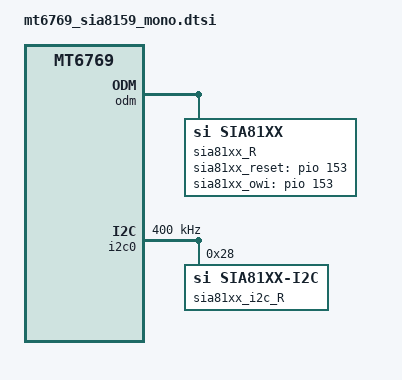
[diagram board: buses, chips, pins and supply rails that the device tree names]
/* Copyright (c) 2018, The Linux Foundation. All rights reserved.
 *
 * This program is free software; you can redistribute it and/or modify
 * it under the terms of the GNU General Public License version 2 and
 * only version 2 as published by the Free Software Foundation.
 *
 * This program is distributed in the hope that it will be useful,
 * but WITHOUT ANY WARRANTY; without even the implied warranty of
 * MERCHANTABILITY or FITNESS FOR A PARTICULAR PURPOSE.  See the
 * GNU General Public License for more details.
 */

&pio {
	sia81xx_gpio_R: sia81xx_gpio_R {
		pins_cmd_dat {
			pinmux = <PINMUX_GPIO153__FUNC_GPIO153>;
			slew-rate = <1>;
			bias-disable;
		};
	};
};

&odm {
	sia81xx_R: sia81xx@R {
		compatible = "si,sia81xx";
		si,sia81xx_type = "sia8159";
		si,sia81xx_reset = <&pio 153 0>;
		si,sia81xx_owi = <&pio 153 0>;
		pinctrl-names = "sia81xx_gpio";
		pinctrl-0 = <&sia81xx_gpio_R>;
		si,sia81xx_disable_pin = <1>;
		/* the same value share a same task
		* valid value range : 0 ~ 7 */
		timer_task_hdl = <0>;
		en_peak_current_limit = <1>;
		channel_num = <1>;
		owi_mode = <6>;
		en_x_filter = <0>;
		en_dynamic_updata_vdd = <0>;
		en_dynamic_updata_pvdd = <0>;
		dynamic_updata_vdd_port = <0x2>;
	};
};

&sound {
	si,sia81xx-max-num = <1>;
	si,sia81xx-aux-devs =<&sia81xx_R>;
	si,sia81xx-aux-devs-prefix ="SpkrRight";
};

&i2c0 {
	#address-cells = <1>;
	#size-cells = <0>;
	clock-frequency = <400000>;
	mediatek,use-open-drain;

	sia81xx_i2c_R: sia81xx_i2c@R {
		compatible = "si,sia81xx-i2c";
		reg = <0x28>;
		si,sia81xx-dev = <&sia81xx_R>;
	};
};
